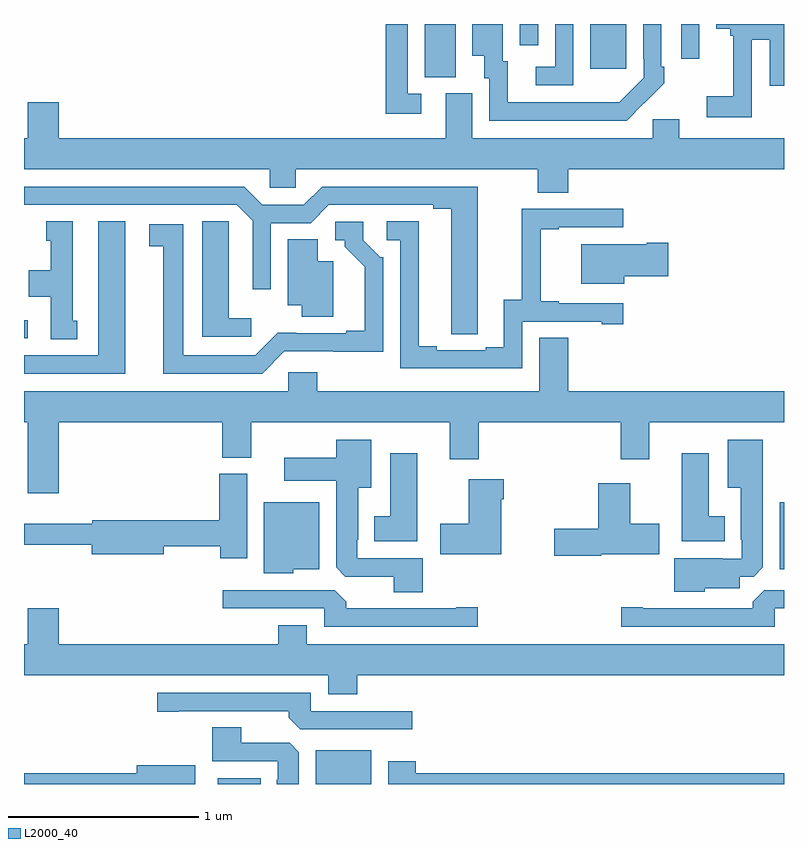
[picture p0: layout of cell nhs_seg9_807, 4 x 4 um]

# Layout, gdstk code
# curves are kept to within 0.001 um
import gdstk
lib = gdstk.Library(unit=1e-6, precision=1e-09)
def R(c, l, rs):  # rectangles x0, y0, x1, y1
    for r in rs: c.add(gdstk.rectangle(r[:2], r[2:], *l))
def P(c, l, *ps):  # polygons
    for p in ps: c.add(gdstk.Polygon(p, *l))
L2000_40 = (2000, 40)

nhs_seg9_807 = lib.new_cell('nhs_seg9_807')
R(nhs_seg9_807, L2000_40, [(154.019,1210.5,154.246,1210.531), (154.535,1210.5,154.828,1210.678), (156.977,1211.63,157,1211.983), (153,1212.846,153.019,1212.942), (155.108,1214.221,155.272,1214.5), (155.981,1214.265,156.169,1214.5), (156.459,1214.316,156.555,1214.5), (155.61,1214.388,155.706,1214.5)])
P(nhs_seg9_807, L2000_40, [(156.831,1214.416),(156.926,1214.416),(156.926,1214.175),(157,1214.175),(157,1214.5),(156.644,1214.5),(156.644,1214.474),(156.716,1214.474),(156.716,1214.439),(156.734,1214.439),(156.734,1214.119),(156.594,1214.119),(156.594,1214.01),(156.831,1214.01)],
  [(155.092,1214.133),(155.019,1214.133),(155.019,1214.5),(154.903,1214.5),(154.903,1214.028),(155.092,1214.028)],
  [(155.892,1214.5),(155.796,1214.5),(155.796,1214.274),(155.694,1214.274),(155.694,1214.178),(155.892,1214.178)],
  [(156.263,1214.083),(156.264,1214.082),(156.369,1214.187),(156.369,1214.275),(156.354,1214.275),(156.354,1214.5),(156.258,1214.5),(156.258,1214.317),(156.261,1214.317),(156.261,1214.217),(156.133,1214.089),(156.029,1214.088),(155.545,1214.088),(155.545,1214.304),(155.521,1214.304),(155.521,1214.5),(155.36,1214.5),(155.36,1214.333),(155.423,1214.333),(155.423,1214.214),(155.448,1214.214),(155.448,1213.992),(156.172,1213.992)],
  [(155.864,1213.736),(157,1213.736),(157,1213.9),(156.448,1213.9),(156.448,1213.998),(156.309,1213.998),(156.309,1213.9),(155.359,1213.9),(155.359,1214.136),(155.219,1214.136),(155.219,1213.9),(153.184,1213.9),(153.184,1214.089),(153.02,1214.089),(153.02,1213.9),(153,1213.9),(153,1213.736),(154.293,1213.736),(154.293,1213.638),(154.431,1213.638),(154.431,1213.736),(155.704,1213.736),(155.704,1213.612),(155.864,1213.612)],
  [(155.388,1212.976),(155.389,1213.644),(154.569,1213.644),(154.473,1213.548),(154.255,1213.548),(154.159,1213.644),(153,1213.644),(153,1213.548),(154.119,1213.548),(154.203,1213.464),(154.203,1213.104),(154.299,1213.104),(154.299,1213.452),(154.509,1213.452),(154.605,1213.548),(155.153,1213.548),(155.153,1213.528),(155.249,1213.528),(155.249,1212.868),(155.388,1212.868)],
  [(155.622,1212.933),(156.041,1212.933),(156.041,1212.921),(156.154,1212.921),(156.154,1213.029),(155.815,1213.029),(155.815,1213.042),(155.72,1213.042),(155.72,1213.419),(155.815,1213.419),(155.815,1213.431),(156.154,1213.431),(156.154,1213.527),(155.62,1213.527),(155.62,1213.049),(155.525,1213.049),(155.525,1212.798),(155.429,1212.798),(155.429,1212.783),(155.173,1212.783),(155.173,1212.803),(155.077,1212.803),(155.077,1213.463),(154.908,1213.463),(154.908,1213.362),(154.98,1213.362),(154.98,1212.687),(155.622,1212.687)],
  [(154.195,1212.952),(154.078,1212.952),(154.078,1213.355),(154.077,1213.355),(154.077,1213.463),(153.938,1213.463),(153.938,1212.855),(154.195,1212.855)],
  [(153.28,1212.939),(153.256,1212.939),(153.256,1213.462),(153.116,1213.462),(153.116,1213.359),(153.14,1213.359),(153.14,1213.204),(153.026,1213.204),(153.026,1213.064),(153.14,1213.064),(153.14,1212.841),(153.28,1212.841)],
  [(153.532,1213.462),(153.392,1213.462),(153.392,1212.756),(153,1212.756),(153,1212.66),(153.532,1212.66)],
  [(154.371,1212.777),(154.89,1212.776),(154.89,1213.272),(154.875,1213.272),(154.785,1213.362),(154.785,1213.458),(154.638,1213.458),(154.638,1213.362),(154.688,1213.362),(154.688,1213.327),(154.793,1213.222),(154.793,1212.886),(154.697,1212.886),(154.697,1212.873),(154.336,1212.874),(154.218,1212.756),(153.838,1212.756),(153.838,1213.446),(153.66,1213.446),(153.66,1213.33),(153.734,1213.33),(153.734,1212.66),(154.254,1212.66)],
  [(154.627,1213.252),(154.546,1213.252),(154.546,1213.367),(154.388,1213.367),(154.388,1213.019),(154.463,1213.019),(154.463,1212.958),(154.627,1212.958)],
  [(156.16,1213.172),(156.391,1213.172),(156.391,1213.35),(156.278,1213.35),(156.278,1213.342),(155.933,1213.342),(155.933,1213.133),(156.16,1213.133)],
  [(153.184,1212.404),(154.043,1212.404),(154.043,1212.217),(154.195,1212.217),(154.195,1212.404),(155.24,1212.404),(155.24,1212.21),(155.393,1212.21),(155.393,1212.404),(156.14,1212.404),(156.14,1212.21),(156.292,1212.21),(156.292,1212.404),(157,1212.404),(157,1212.568),(155.864,1212.568),(155.864,1212.848),(155.711,1212.848),(155.711,1212.568),(154.544,1212.568),(154.544,1212.666),(154.392,1212.666),(154.392,1212.568),(153,1212.568),(153,1212.404),(153.02,1212.404),(153.02,1212.03),(153.184,1212.03)],
  [(156.582,1211.531),(156.766,1211.531),(156.766,1211.592),(156.84,1211.592),(156.889,1211.641),(156.889,1212.313),(156.704,1212.313),(156.704,1212.059),(156.773,1212.059),(156.773,1211.785),(156.777,1211.785),(156.777,1211.685),(156.677,1211.685),(156.677,1211.689),(156.422,1211.689),(156.422,1211.513),(156.582,1211.513)],
  [(155.099,1211.688),(154.755,1211.688),(154.755,1211.785),(154.759,1211.785),(154.759,1212.059),(154.828,1212.059),(154.828,1212.313),(154.643,1212.313),(154.643,1212.217),(154.371,1212.217),(154.371,1212.095),(154.643,1212.095),(154.643,1211.641),(154.692,1211.592),(154.946,1211.592),(154.946,1211.509),(155.099,1211.509)],
  [(156.688,1211.908),(156.604,1211.908),(156.604,1212.241),(156.461,1212.241),(156.461,1211.777),(156.688,1211.777)],
  [(155.071,1212.241),(154.928,1212.241),(154.928,1211.908),(154.844,1211.908),(154.844,1211.777),(155.071,1211.777)],
  [(154.174,1212.132),(154.028,1212.132),(154.028,1211.888),(153.36,1211.888),(153.36,1211.869),(153,1211.869),(153,1211.76),(153.356,1211.76),(153.356,1211.71),(153.736,1211.71),(153.736,1211.752),(154.033,1211.752),(154.033,1211.688),(154.174,1211.688)],
  [(155.512,1211.999),(155.525,1211.999),(155.525,1212.103),(155.342,1212.103),(155.342,1211.871),(155.19,1211.871),(155.19,1211.708),(155.512,1211.708)],
  [(156.039,1211.708),(156.343,1211.708),(156.343,1211.871),(156.19,1211.871),(156.19,1212.082),(156.023,1212.082),(156.023,1211.843),(155.79,1211.843),(155.79,1211.701),(156.039,1211.701)],
  [(154.416,1211.63),(154.555,1211.63),(154.555,1211.983),(154.262,1211.983),(154.262,1211.609),(154.416,1211.609)],
  [(155.389,1211.429),(155.276,1211.429),(155.276,1211.424),(154.697,1211.424),(154.697,1211.458),(154.635,1211.52),(154.047,1211.52),(154.047,1211.424),(154.581,1211.424),(154.581,1211.328),(155.389,1211.328)],
  [(156.951,1211.424),(157,1211.424),(157,1211.52),(156.897,1211.52),(156.836,1211.458),(156.836,1211.424),(156.256,1211.424),(156.256,1211.429),(156.144,1211.429),(156.144,1211.328),(156.951,1211.328)],
  [(154.754,1211.072),(157,1211.072),(157,1211.236),(154.489,1211.236),(154.489,1211.335),(154.337,1211.335),(154.337,1211.236),(153.184,1211.236),(153.184,1211.425),(153.02,1211.425),(153.02,1211.236),(153,1211.236),(153,1211.072),(154.601,1211.072),(154.601,1210.973),(154.754,1210.973)],
  [(155.044,1210.884),(154.509,1210.884),(154.509,1210.98),(153.702,1210.98),(153.702,1210.879),(153.814,1210.879),(153.814,1210.884),(154.394,1210.884),(154.394,1210.85),(154.455,1210.788),(155.044,1210.788)],
  [(154.447,1210.667),(154.398,1210.716),(154.144,1210.716),(154.144,1210.799),(153.992,1210.799),(153.992,1210.62),(154.335,1210.62),(154.335,1210.523),(154.331,1210.523),(154.331,1210.5),(154.447,1210.5)],
  [(157,1210.556),(155.063,1210.556),(155.063,1210.621),(154.916,1210.621),(154.916,1210.5),(157,1210.5)],
  [(153.901,1210.6),(153.593,1210.6),(153.593,1210.556),(153,1210.556),(153,1210.5),(153.901,1210.5)])

lib.write_gds('nhs_seg9_807.gds')
